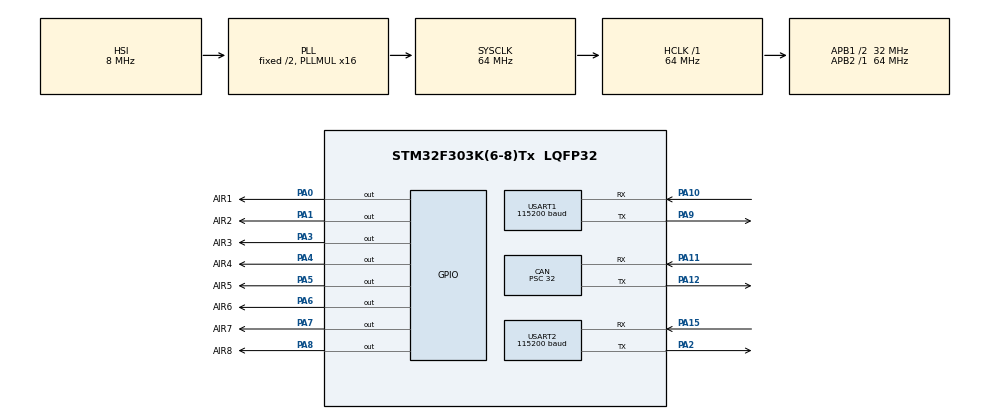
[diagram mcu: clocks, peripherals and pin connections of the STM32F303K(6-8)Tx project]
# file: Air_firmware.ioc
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CAN.BS1=CAN_BS1_4TQ
CAN.BS2=CAN_BS2_5TQ
CAN.CalculateBaudRate=100000
CAN.CalculateTimeBit=10000
CAN.CalculateTimeQuantum=1000.0
CAN.Mode=CAN_MODE_LOOPBACK
CAN.Prescaler=32
CAN.SJW=CAN_SJW_1TQ
Dma.Request0=USART2_RX
Dma.Request1=USART2_TX
Dma.USART2_RX.0.Direction=DMA_PERIPH_TO_MEMORY
Dma.USART2_RX.0.Instance=DMA1_Channel6
Dma.USART2_RX.0.MemDataAlignment=DMA_MDATAALIGN_BYTE
Dma.USART2_RX.0.MemInc=DMA_MINC_ENABLE
Dma.USART2_RX.0.Mode=DMA_NORMAL
Dma.USART2_RX.0.PeriphDataAlignment=DMA_PDATAALIGN_BYTE
Dma.USART2_RX.0.PeriphInc=DMA_PINC_DISABLE
Dma.USART2_RX.0.Priority=DMA_PRIORITY_LOW
Dma.USART2_TX.1.Direction=DMA_MEMORY_TO_PERIPH
Dma.USART2_TX.1.Instance=DMA1_Channel7
Dma.USART2_TX.1.MemDataAlignment=DMA_MDATAALIGN_BYTE
Dma.USART2_TX.1.MemInc=DMA_MINC_ENABLE
Dma.USART2_TX.1.Mode=DMA_NORMAL
Dma.USART2_TX.1.PeriphDataAlignment=DMA_PDATAALIGN_BYTE
Dma.USART2_TX.1.PeriphInc=DMA_PINC_DISABLE
Dma.USART2_TX.1.Priority=DMA_PRIORITY_LOW
Mcu.Family=STM32F3
Mcu.Name=STM32F303K(6-8)Tx
Mcu.Package=LQFP32
NVIC.DMA1_Channel6_IRQn=true\:0\:0\:false\:false\:true\:false\:true\:true
NVIC.DMA1_Channel7_IRQn=true\:0\:0\:false\:false\:true\:false\:true\:true
NVIC.PriorityGroup=NVIC_PRIORITYGROUP_4
NVIC.USART2_IRQn=true\:0\:0\:false\:false\:true\:true\:true\:true
PA0.GPIO_Label=AIR1
PA0.GPIO_Speed=GPIO_SPEED_FREQ_HIGH
PA0.Signal=GPIO_Output
PA1.GPIO_Label=AIR2
PA1.GPIO_Speed=GPIO_SPEED_FREQ_HIGH
PA1.Signal=GPIO_Output
PA10.Mode=Asynchronous
PA10.Signal=USART1_RX
PA11.Mode=CAN_Activate
PA11.Signal=CAN_RX
PA12.Mode=CAN_Activate
PA12.Signal=CAN_TX
PA13.Mode=Trace_Asynchronous_SW
PA13.Signal=SYS_JTMS-SWDIO
PA14.Mode=Trace_Asynchronous_SW
PA14.Signal=SYS_JTCK-SWCLK
PA15.Mode=Asynchronous
PA15.Signal=USART2_RX
PA2.Mode=Asynchronous
PA2.Signal=USART2_TX
PA3.GPIO_Label=AIR3
PA3.GPIO_Speed=GPIO_SPEED_FREQ_HIGH
PA3.Signal=GPIO_Output
PA4.GPIO_Label=AIR4
PA4.GPIO_Speed=GPIO_SPEED_FREQ_HIGH
PA4.Signal=GPIO_Output
PA5.GPIO_Label=AIR5
PA5.GPIO_Speed=GPIO_SPEED_FREQ_HIGH
PA5.Signal=GPIO_Output
PA6.GPIO_Label=AIR6
PA6.GPIO_Speed=GPIO_SPEED_FREQ_HIGH
PA6.Signal=GPIO_Output
PA7.GPIO_Label=AIR7
PA7.GPIO_Speed=GPIO_SPEED_FREQ_HIGH
PA7.Signal=GPIO_Output
PA8.GPIO_Label=AIR8
PA8.GPIO_Speed=GPIO_SPEED_FREQ_HIGH
PA8.Signal=GPIO_Output
PA9.Mode=Asynchronous
PA9.Signal=USART1_TX
PB3.Mode=Trace_Asynchronous_SW
PB3.Signal=SYS_JTDO-TRACESWO
ProjectManager.HeapSize=0x200
ProjectManager.StackSize=0x400
ProjectManager.TargetToolchain=STM32CubeIDE
RCC.AHBFreq_Value=64000000
RCC.APB1CLKDivider=RCC_HCLK_DIV2
RCC.APB1Freq_Value=32000000
RCC.APB1TimFreq_Value=64000000
RCC.APB2Freq_Value=64000000
RCC.APB2TimFreq_Value=64000000
RCC.CortexFreq_Value=64000000
RCC.HCLKFreq_Value=64000000
RCC.HSE_VALUE=8000000
RCC.HSI_VALUE=8000000
RCC.PLLMUL=RCC_PLL_MUL16
RCC.SYSCLKFreq_VALUE=64000000
RCC.SYSCLKSourceVirtual=RCC_SYSCLKSOURCE_PLLCLK
USART1.BaudRate=115200
USART1.VirtualMode-Asynchronous=VM_ASYNC
USART2.BaudRate=115200
USART2.VirtualMode-Asynchronous=VM_ASYNC
board=custom

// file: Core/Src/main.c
/* USER CODE BEGIN Header */
/**
  ******************************************************************************
  * @file           : main.c
  * @brief          : Main program body
  ******************************************************************************
  * @attention
  *
  * Copyright (c) 2024 STMicroelectronics.
  * All rights reserved.
  *
  * This software is licensed under terms that can be found in the LICENSE file
  * in the root directory of this software component.
  * If no LICENSE file comes with this software, it is provided AS-IS.
  *
  ******************************************************************************
  */
/* USER CODE END Header */
#include "main.h"
#include "can.h"
#include "dma.h"
#include "usart.h"
#include "gpio.h"

/* USER CODE BEGIN Includes */
#include "stdio.h"

/* USER CODE END Includes */

void SystemClock_Config(void);

/* USER CODE BEGIN 0 */
void HAL_UART_TxCpltCallback(UART_HandleTypeDef *huart)
{
    huart2.gState = HAL_UART_STATE_READY;
}

uint8_t UART2_RX_Buffer[8];
void HAL_UART_RxCpltCallback(UART_HandleTypeDef *huart)
{
    if (huart->Instance == USART2)
    {
    	HAL_UART_Receive_DMA(&huart2, UART2_RX_Buffer, 8);
    }
}

/* USER CODE END 0 */

int main(void)
{

  /* USER CODE BEGIN 1 */
	setbuf(stdout, NULL);

  /* USER CODE END 1 */

  /* MCU Configuration--------------------------------------------------------*/

  /* Reset of all peripherals, Initializes the Flash interface and the Systick. */
  HAL_Init();

  /* Configure the system clock */
  SystemClock_Config();

  /* Initialize all configured peripherals */
  MX_GPIO_Init();
  MX_DMA_Init();
  MX_CAN_Init();
  MX_USART1_UART_Init();
  MX_USART2_UART_Init();
  /* USER CODE BEGIN 2 */
  printf("Boot NUCLEO\r\n");
  printf("Type any key.\r\n");
  printf("Then toggle LED each 8 letters.\r\n");

  HAL_UART_Receive_DMA(&huart2, UART2_RX_Buffer, 8);

  /* USER CODE END 2 */

  /* Infinite loop */
  while (1)
  {

    /* USER CODE BEGIN 3 */
	  HAL_UART_Transmit(&huart2, UART2_RX_Buffer, 8, 10);
	  printf("\r\n");
	  LL_mDelay(100);
  }
  /* USER CODE END 3 */
}

void SystemClock_Config(void)
{
  RCC_OscInitTypeDef RCC_OscInitStruct = {0};
  RCC_ClkInitTypeDef RCC_ClkInitStruct = {0};
  RCC_PeriphCLKInitTypeDef PeriphClkInit = {0};

  /** Initializes the RCC Oscillators according to the specified parameters
  * in the RCC_OscInitTypeDef structure.
  */
  RCC_OscInitStruct.OscillatorType = RCC_OSCILLATORTYPE_HSI;
  RCC_OscInitStruct.HSIState = RCC_HSI_ON;
  RCC_OscInitStruct.HSICalibrationValue = RCC_HSICALIBRATION_DEFAULT;
  RCC_OscInitStruct.PLL.PLLState = RCC_PLL_ON;
  RCC_OscInitStruct.PLL.PLLSource = RCC_PLLSOURCE_HSI;
  RCC_OscInitStruct.PLL.PLLMUL = RCC_PLL_MUL16;
  if (HAL_RCC_OscConfig(&RCC_OscInitStruct) != HAL_OK)
  {
    Error_Handler();
  }

  /** Initializes the CPU, AHB and APB buses clocks
  */
  RCC_ClkInitStruct.ClockType = RCC_CLOCKTYPE_HCLK|RCC_CLOCKTYPE_SYSCLK
                              |RCC_CLOCKTYPE_PCLK1|RCC_CLOCKTYPE_PCLK2;
  RCC_ClkInitStruct.SYSCLKSource = RCC_SYSCLKSOURCE_PLLCLK;
  RCC_ClkInitStruct.AHBCLKDivider = RCC_SYSCLK_DIV1;
  RCC_ClkInitStruct.APB1CLKDivider = RCC_HCLK_DIV2;
  RCC_ClkInitStruct.APB2CLKDivider = RCC_HCLK_DIV1;

  if (HAL_RCC_ClockConfig(&RCC_ClkInitStruct, FLASH_LATENCY_2) != HAL_OK)
  {
    Error_Handler();
  }
  PeriphClkInit.PeriphClockSelection = RCC_PERIPHCLK_USART1;
  PeriphClkInit.Usart1ClockSelection = RCC_USART1CLKSOURCE_PCLK1;
  if (HAL_RCCEx_PeriphCLKConfig(&PeriphClkInit) != HAL_OK)
  {
    Error_Handler();
  }
}

/* USER CODE BEGIN 4 */
/*
void __io_putchar(uint8_t c)
{
	LL_USART_TransmitData8(USART2, c);
	while (LL_USART_IsActiveFlag_TXE(USART2) == 0);
}
*/

int _write(int file, char *ptr, int len)
{
	while (huart2.gState != HAL_UART_STATE_READY) {}
	HAL_UART_Transmit_DMA(&huart2, (uint8_t *)ptr, len);
	return len;
}

/* USER CODE END 4 */

void Error_Handler(void)
{
  __disable_irq();
  while (1)
  {
  }
}
